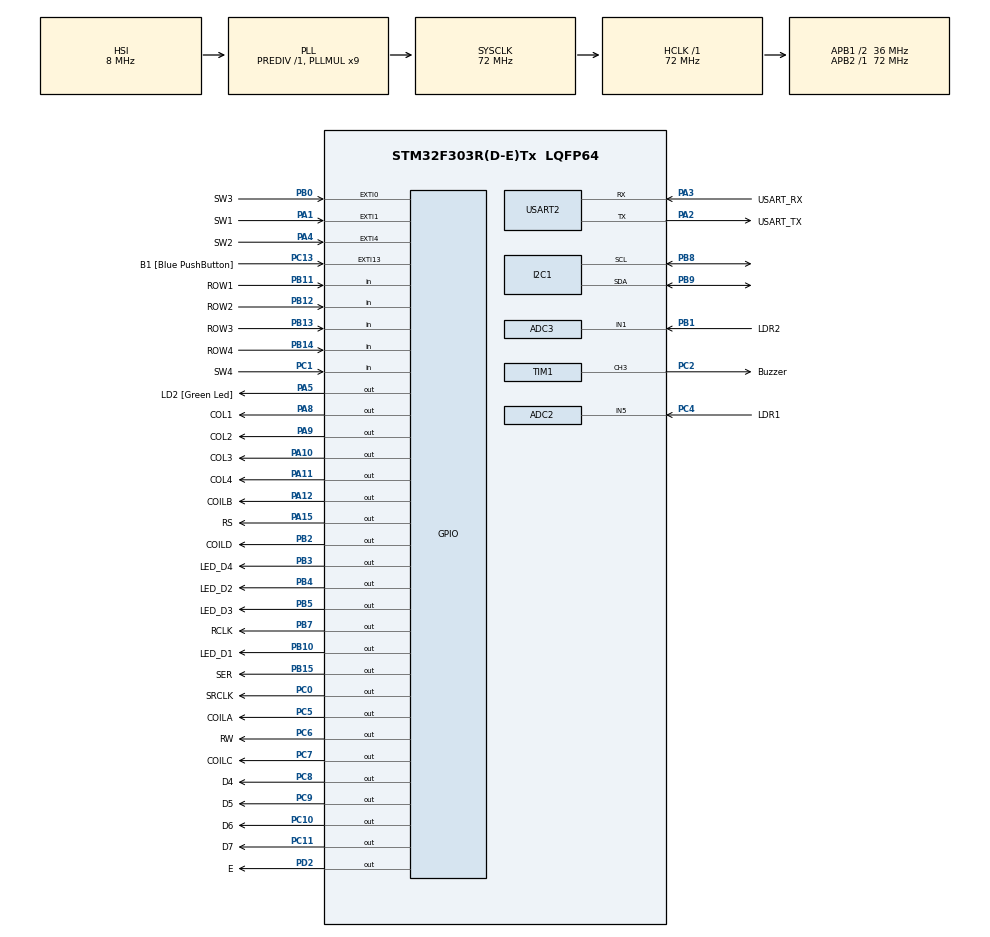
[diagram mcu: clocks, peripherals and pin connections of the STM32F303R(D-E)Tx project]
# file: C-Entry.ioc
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ADC2.Channel-0\#ChannelRegularConversion=ADC_CHANNEL_5
ADC2.NbrOfConversionFlag=1
ADC2.Offset-0\#ChannelRegularConversion=0
ADC2.OffsetNumber-0\#ChannelRegularConversion=ADC_OFFSET_NONE
ADC2.Rank-0\#ChannelRegularConversion=1
ADC2.SamplingTime-0\#ChannelRegularConversion=ADC_SAMPLETIME_1CYCLE_5
ADC2.SamplingTimeOPAMP-0\#ChannelRegularConversion=ADC_SAMPLETIME_61CYCLES_5
ADC3.Channel-0\#ChannelRegularConversion=ADC_CHANNEL_1
ADC3.NbrOfConversionFlag=1
ADC3.Offset-0\#ChannelRegularConversion=0
ADC3.OffsetNumber-0\#ChannelRegularConversion=ADC_OFFSET_NONE
ADC3.Rank-0\#ChannelRegularConversion=1
ADC3.SamplingTime-0\#ChannelRegularConversion=ADC_SAMPLETIME_1CYCLE_5
ADC3.SamplingTimeOPAMP-0\#ChannelRegularConversion=ADC_SAMPLETIME_61CYCLES_5
ADC3.master=1
I2C1.Timing=0x00201D2B
Mcu.Family=STM32F3
Mcu.Name=STM32F303R(D-E)Tx
Mcu.Package=LQFP64
NVIC.EXTI0_IRQn=true\:0\:0\:false\:false\:true\:true\:true\:true
NVIC.EXTI15_10_IRQn=true\:0\:0\:false\:false\:true\:true\:true\:true
NVIC.EXTI1_IRQn=true\:0\:0\:false\:false\:true\:true\:true\:true
NVIC.EXTI4_IRQn=true\:0\:0\:false\:false\:true\:true\:true\:true
NVIC.I2C1_ER_IRQn=true\:0\:0\:false\:false\:true\:true\:true\:true
NVIC.I2C1_EV_IRQn=true\:0\:0\:false\:false\:true\:true\:true\:true
NVIC.PriorityGroup=NVIC_PRIORITYGROUP_0
NVIC.TIM6_DAC_IRQn=true\:0\:0\:false\:false\:true\:true\:true\:true
PA1.GPIO_Label=SW1
PA1.Signal=GPXTI1
PA10.GPIO_Label=COL3
PA10.Signal=GPIO_Output
PA11.GPIO_Label=COL4
PA11.Signal=GPIO_Output
PA12.GPIO_Label=COILB
PA12.Signal=GPIO_Output
PA13.GPIO_Label=TMS
PA13.Mode=Serial_Wire
PA13.Signal=SYS_JTMS-SWDIO
PA14.GPIO_Label=TCK
PA14.Mode=Serial_Wire
PA14.Signal=SYS_JTCK-SWCLK
PA15.GPIO_Label=RS
PA15.Signal=GPIO_Output
PA2.GPIO_Label=USART_TX
PA2.GPIO_Mode=GPIO_MODE_AF_PP
PA2.GPIO_PuPd=GPIO_NOPULL
PA2.GPIO_Speed=GPIO_SPEED_FREQ_LOW
PA2.Mode=Asynchronous
PA2.Signal=USART2_TX
PA3.GPIO_Label=USART_RX
PA3.GPIO_Mode=GPIO_MODE_AF_PP
PA3.GPIO_PuPd=GPIO_NOPULL
PA3.GPIO_Speed=GPIO_SPEED_FREQ_LOW
PA3.Mode=Asynchronous
PA3.Signal=USART2_RX
PA4.GPIO_Label=SW2
PA4.Signal=GPXTI4
PA5.GPIO_Label=LD2 [Green Led]
PA5.GPIO_Mode=GPIO_MODE_OUTPUT_PP
PA5.GPIO_PuPd=GPIO_NOPULL
PA5.GPIO_Speed=GPIO_SPEED_FREQ_LOW
PA5.Signal=GPIO_Output
PA8.GPIO_Label=COL1
PA8.Signal=GPIO_Output
PA9.GPIO_Label=COL2
PA9.Signal=GPIO_Output
PB0.GPIO_Label=SW3
PB0.Signal=GPXTI0
PB1.GPIO_Label=LDR2
PB1.Mode=IN1-Single-Ended
PB1.Signal=ADC3_IN1
PB10.GPIO_Label=LED_D1
PB10.Signal=GPIO_Output
PB11.GPIO_Label=ROW1
PB11.GPIO_PuPd=GPIO_PULLDOWN
PB11.Signal=GPIO_Input
PB12.GPIO_Label=ROW2
PB12.GPIO_PuPd=GPIO_PULLDOWN
PB12.Signal=GPIO_Input
PB13.GPIO_Label=ROW3
PB13.GPIO_PuPd=GPIO_PULLDOWN
PB13.Signal=GPIO_Input
PB14.GPIO_Label=ROW4
PB14.GPIO_PuPd=GPIO_PULLDOWN
PB14.Signal=GPIO_Input
PB15.GPIO_Label=SER
PB15.Signal=GPIO_Output
PB2.GPIO_Label=COILD
PB2.Signal=GPIO_Output
PB3.GPIO_Label=LED_D4
PB3.Signal=GPIO_Output
PB4.GPIO_Label=LED_D2
PB4.Signal=GPIO_Output
PB5.GPIO_Label=LED_D3
PB5.Signal=GPIO_Output
PB7.GPIO_Label=RCLK
PB7.Signal=GPIO_Output
PB8.GPIO_Pu=GPIO_PULLUP
PB8.Mode=I2C
PB8.Signal=I2C1_SCL
PB9.GPIO_Pu=GPIO_PULLUP
PB9.Mode=I2C
PB9.Signal=I2C1_SDA
PC0.GPIO_Label=SRCLK
PC0.Signal=GPIO_Output
PC1.GPIO_Label=SW4
PC1.Signal=GPIO_Input
PC10.GPIO_Label=D6
PC10.Signal=GPIO_Output
PC11.GPIO_Label=D7
PC11.Signal=GPIO_Output
PC13.GPIO_Label=B1 [Blue PushButton]
PC13.GPIO_ModeDefaultEXTI=GPIO_MODE_IT_FALLING
PC13.Signal=GPXTI13
PC14-OSC32_IN.Mode=LSE-External-Oscillator
PC14-OSC32_IN.Signal=RCC_OSC32_IN
PC15-OSC32_OUT.Mode=LSE-External-Oscillator
PC15-OSC32_OUT.Signal=RCC_OSC32_OUT
PC2.GPIO_Label=Buzzer
PC2.Signal=S_TIM1_CH3
PC4.GPIO_Label=LDR1
PC4.Mode=IN5-Single-Ended
PC4.Signal=ADC2_IN5
PC5.GPIO_Label=COILA
PC5.Signal=GPIO_Output
PC6.GPIO_Label=RW
PC6.Signal=GPIO_Output
PC7.GPIO_Label=COILC
PC7.Signal=GPIO_Output
PC8.GPIO_Label=D4
PC8.Signal=GPIO_Output
PC9.GPIO_Label=D5
PC9.Signal=GPIO_Output
PD2.GPIO_Label=E
PD2.Signal=GPIO_Output
PF0-OSC_IN.Mode=HSE-External-Clock-Source
PF0-OSC_IN.Signal=RCC_OSC_IN
PF1-OSC_OUT.Signal=RCC_OSC_OUT
ProjectManager.HeapSize=0x200
ProjectManager.StackSize=0x400
ProjectManager.TargetToolchain=STM32CubeIDE
RCC.AHBFreq_Value=72000000
RCC.APB1CLKDivider=RCC_HCLK_DIV2
RCC.APB1Freq_Value=36000000
RCC.APB1TimFreq_Value=72000000
RCC.APB2Freq_Value=72000000
RCC.APB2TimFreq_Value=72000000
RCC.CortexFreq_Value=72000000
RCC.HCLKFreq_Value=72000000
RCC.HSE_VALUE=8000000
RCC.HSI_VALUE=8000000
RCC.PLLM=8
RCC.PLLMUL=RCC_PLL_MUL9
RCC.PLLN=336
RCC.PLLP=RCC_PLLP_DIV4
RCC.PLLQ=7
RCC.RCC_PLLsource_Clock_Source_FROM_HSE=RCC_HSE_PREDIV_DIV2
RCC.SYSCLKFreq_VALUE=72000000
RCC.SYSCLKSourceVirtual=RCC_SYSCLKSOURCE_PLLCLK
RCC.USBFreq_Value=72000000
SH.S_TIM1_CH3.0=TIM1_CH3,PWM Generation3 CH3
TIM1.Channel-PWM\ Generation3\ CH3=TIM_CHANNEL_3
TIM1.Prescaler=71
TIM6.Period=999
TIM6.Prescaler=71
USART2.VirtualMode-Asynchronous=VM_ASYNC
VP_TIM1_VS_ClockSourceINT.Mode=Internal
VP_TIM6_VS_ClockSourceINT.Mode=Enable_Timer
board=NUCLEO-F303RE

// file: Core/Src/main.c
/* USER CODE BEGIN Header */
/**
 ******************************************************************************
 * @file           : main.c
 * @brief          : Main program body
 ******************************************************************************
 * @attention
 *
 * Copyright (c) 2026 STMicroelectronics.
 * All rights reserved.
 *
 * This software is licensed under terms that can be found in the LICENSE file
 * in the root directory of this software component.
 * If no LICENSE file comes with this software, it is provided AS-IS.
 *
 ******************************************************************************
 */
/* USER CODE END Header */
#include "main.h"

/* USER CODE BEGIN Includes */

#include "keypad.h"
#include "lcd.h"
#include "motor.h"
#include "pn532.h"
#include <stdio.h>
#include <string.h>
#include <stdlib.h>
#include <stdbool.h>
#include "keypadPassword.h"

/* USER CODE END Includes */

/* USER CODE BEGIN PD */

#define LCD_CLEAR_DISPLAY 0b00000001
#define LCD_SHIFT_LEFT 0b00010000
#define MAX_CHAR_IN_LINE 16
#define LCD_FIRST_LINE 0x00
#define LCD_SECOND_LINE 0x40
#define SET_DDRAM_ADDRESS 0b10000000
#define RFID_UID 0x765F3207
#define NFC_UID 0x3E610B07
#define KEYPAD_TIMEOUT 600000 // 600 seconds, 10 minutes
// #define KEYPAD_TIMEOUT 6000 // 6 seconds for testing
#define MAX_DIGITS 16

/* USER CODE END PD */

ADC_HandleTypeDef hadc2;
ADC_HandleTypeDef hadc3;

I2C_HandleTypeDef hi2c1;

TIM_HandleTypeDef htim1;
TIM_HandleTypeDef htim6;

UART_HandleTypeDef huart2;

/* USER CODE BEGIN PV */

enum STATES {
	IDLE, EMERGENCY, OPEN, ALARM, EVENT, KEYPAD
};
// Sets the initial state of the gate
int STATE = IDLE;
int previousState = IDLE;

//0 = gate closed, 1 = Gate open
int isGateOpen = 0;

// counts how many milliseconds since start of program
volatile int milliseconds = 0;

// tracks time until keypad timeout
int keypadStartTimeout = 0;
// time that event state should last for
int eventTime = 0;
int eventStartTime = 0;
// for keypad input tracking
char timeRecorded[MAX_DIGITS] = { '\0' };
int timeDigitNum = 0;
// for scheduling
int scheduledMinutes = 0;
int keypadSchedulePrint = 0;
int forward = 1;
int currentLCDBit = 0;

// for event
int eventFirstStart = 0;
int lastPrinted = 0;

// for alarm
int alarmFirstStart = 0;
int alarmLedState = 0;
int alarmCounter = 0;

//emergency
// to clear LCD when emergency is called
int emergencyStateChange = 0;
int emergencyBlinkCounter = 0;
int emergencyBlinkState = 0;
int RFIDAccessGranted = 0;
int sw1TimeoutStart = 0;

// for open state
int openStateChange = 0;
int openTimerStart = 0;
int leaving = 0;
int ldr2WasTriggered = 0;
int ldr2TriggerStart = 0;

// for idle
int idleTimerStart = 0;
int idleStart = 1;

/* USER CODE END PV */

void SystemClock_Config(void);
static void MX_GPIO_Init(void);
static void MX_USART2_UART_Init(void);
static void MX_ADC2_Init(void);
static void MX_ADC3_Init(void);
static void MX_TIM1_Init(void);
static void MX_TIM6_Init(void);
static void MX_I2C1_Init(void);
/* USER CODE BEGIN PFP */

int scheduleChange(int scheduledMinutes, int forward, int value);
bool checkPassword ();
void shift_register_write(uint16_t data);
void clearPeripherals();
void Buzzer_Tone(uint32_t frequency_hz);

/* USER CODE END PFP */

int main(void)
{

  /* MCU Configuration--------------------------------------------------------*/

  /* Reset of all peripherals, Initializes the Flash interface and the Systick. */
  HAL_Init();

  /* Configure the system clock */
  SystemClock_Config();

  /* Initialize all configured peripherals */
  MX_GPIO_Init();
  MX_USART2_UART_Init();
  MX_ADC2_Init();
  MX_ADC3_Init();
  MX_TIM1_Init();
  MX_TIM6_Init();
  MX_I2C1_Init();
  /* USER CODE BEGIN 2 */
	// test code to check NFC module
//  for (uint8_t addr = 1; addr < 128; addr++) {
//      if (HAL_I2C_IsDeviceReady(&hi2c1, addr << 1, 2, 10) == HAL_OK) {
//          char msg[32];
//          sprintf(msg, "Found device at 0x%02X\r\n", addr);
//          UART_Print(msg);
//      }
//  }
// start lcd
	LCD_init();
	// start timer 6
	HAL_TIM_Base_Start_IT(&htim6);

	// start NFC configuration and check if it works
	HAL_Delay(100);
	PN532_SamConfig();

	// test code
//  HAL_Delay(100);
//  if (PN532_SamConfig()) {
//      UART_Print("PN532 SAM Config OK\r\n");
//  } else {
//      UART_Print("PN532 SAM Config FAILED\r\n");
//  }
	// to check if NFC reader works
	uint8_t uid[7];
	uint8_t uidLen;

	// callibrate ADC
	HAL_ADCEx_Calibration_Start(&hadc2, ADC_SINGLE_ENDED);
	HAL_ADCEx_Calibration_Start(&hadc3, ADC_SINGLE_ENDED);

  /* USER CODE END 2 */

  /* Infinite loop */
  /* USER CODE BEGIN WHILE */
	while (1) {

		// commented code is just for testing, it can make keypad unreliable
		// for testing, check current state
		char stateMsg[32];
		sprintf(stateMsg, "STATE: %d\r\n", STATE);
		UART_Print(stateMsg);

		if (STATE == IDLE) {
			if (idleStart == 1) {
				// clear all peripherals
				clearPeripherals();
				LCD_SendStr("IDLE");
				idleStart = 0;
				idleTimerStart = milliseconds;
				// if gate open, close it
				if (isGateOpen && leaving == 0) {
					for (int i = 0; i < 128; i++) {
						FullStep(5);
					}
					isGateOpen = 0;
				}

				if (isGateOpen && leaving == 1) {
					for(int i = 0; i < 128; i++) {
						FullStepReverse(5);
					}
					isGateOpen = 0;
				}
			}

			// get uid
			uidLen = PN532_ReadPassiveTarget(uid);

			// check if success
			if (uidLen > 0) {
				uint32_t scannedUID = (uid[0] << 24) | (uid[1] << 16)
						| (uid[2] << 8) | uid[3];

				// from IDLE to KEYPAD_STATE
				if (RFID_UID == scannedUID && uidLen > 0
						&& STATE != EMERGENCY) {
					// move to second line before checking password
					LCD_SendCmd(SET_DDRAM_ADDRESS | LCD_SECOND_LINE);
					if (checkPassword()) {
						// reset eventStartTime
						eventStartTime = 0;
						STATE = KEYPAD;
						keypadSchedulePrint = 1;
						keypadStartTimeout = milliseconds;
					} else {
						LCD_SendCmd(LCD_CLEAR_DISPLAY);
						LCD_SendStr("IDLE");
					}
				} else if (NFC_UID == scannedUID && uidLen > 0
							&& STATE != EMERGENCY) {
						// play correct buzzer tone
						int rest = 0;
						int tune1[] = { 622, rest, 932, 784, 784, 698, 622, rest,
								932, 784, 784, 698, 740, 784, rest, 932, 784, 784,
								698, 622, 523, 622, 698, 932, 523, 622, 698, 622 };
						int i = 0;
						int lastNoteTime = 0;
						int numNotes = sizeof(tune1) / sizeof(tune1[0]);
						while (i < numNotes) {
						    if (STATE == EMERGENCY) {
						        break;
						    }
						    if (milliseconds - lastNoteTime >= 25) {
						        Buzzer_Tone(tune1[i]);
						        lastNoteTime = milliseconds;
						        i++;
						    }
						}
						// change state to OPEN
						STATE = OPEN;
						openStateChange = 1;
						leaving = 0;
				} else {
					// play incorrect buzzer tone
					int tune1[] = {440, 550, 440, 550, 440, 550, 440, 550, 440,
								550, 400, 300, 255, 255, 300, 303};

					int i = 0;
					int lastNoteTime = 0;
					int numNotes = sizeof(tune1) / sizeof(tune1[0]);
					while (i < numNotes) {
						if (STATE == EMERGENCY) {
							break;
						}

						// only play and increment if time between is 25 milliseconds
						if (milliseconds - lastNoteTime >= 25) {
							Buzzer_Tone(tune1[i]);
							lastNoteTime = milliseconds;
							i++;
						}
					}
					Buzzer_Tone(0);
				}

			}

			// detect if someone is leaving the building
			HAL_ADC_Start(&hadc3);
			// wait until finished converting
			HAL_ADC_PollForConversion(&hadc3, 100);
			int val = HAL_ADC_GetValue(&hadc3);
			// debounce, 500 is the threshold
			if (val > 500) {
				idleTimerStart = milliseconds;
			} else {
				// check for 500 milliseconds
				// person needs to wait half a second for gate to start opening
				if (milliseconds - idleTimerStart > 50) {
					// exiting detected
					STATE = OPEN;
					openStateChange = 1;
					leaving = 1;
				}

			}

			// turns to event after scheduled time
			// if eventStartTime == 0 then its not initialised
			if (milliseconds >= eventStartTime && eventStartTime != 0
					&& STATE != EMERGENCY && STATE != OPEN) {
				STATE = EVENT;
				eventFirstStart = 1;
			}

		}

		if (STATE == OPEN) {
			if (openStateChange == 1) {
				clearPeripherals();
				shift_register_write(0xFFFF);

				if (leaving) {
					LCD_SendStr("GOODBYE!");
					// rotate 90 degrees
					for (int i = 0; i < 128; i++) {
						FullStep(5);
					}
				} else {
					LCD_SendStr("WELCOME!");
					stepper_rotate_steps(512, 5);
				}
				isGateOpen = 1;
				openTimerStart = milliseconds;
				openStateChange = 0;
			}

			// 10 second timeout if no one enters the gate
			if (milliseconds - openTimerStart > 1000 * 10) {
				STATE = IDLE;
				idleStart = 1;
			}

			if (leaving) {
				// LDR1 detected, close early
				HAL_ADC_Start(&hadc2); // start LDR1
				HAL_ADC_PollForConversion(&hadc2, 100);
				int val = HAL_ADC_GetValue(&hadc2);
				if (val < 500) {
					STATE = IDLE;
					idleStart = 1;
				}
			} else {
				// detect tailgating
				// start ADC, LDR 2
				HAL_ADC_Start(&hadc3);
				// wait until finished converting
				HAL_ADC_PollForConversion(&hadc3, 100);
				int val = HAL_ADC_GetValue(&hadc3);
				// set adc threshold to be 500
		        if (val < 500) {
		        	// user passes ldr2
		            if (!ldr2WasTriggered) {
		                ldr2WasTriggered = 1;
		                ldr2TriggerStart = milliseconds;
		            } else if (milliseconds - ldr2TriggerStart > 2000) {
		                // if still blocked after 2 seconds, trigger alarm
		                STATE = ALARM;
		                alarmFirstStart = 1;
		            }
		        } else {
		            if (ldr2WasTriggered) {
		                // close gate early, ldr 2 not triggered for 2 seconds
		                STATE = IDLE;
		                idleStart = 1;
		            }
		            ldr2WasTriggered = 0;
		        }

			}

		}

		if (STATE == ALARM) {
			if (alarmFirstStart == 1) {
				// print ALARM on the LCD
				LCD_SendCmd(LCD_CLEAR_DISPLAY);
				char alarmStr[20];
				snprintf(alarmStr, sizeof(alarmStr), "ALARM");
				LCD_SendStr(alarmStr);

				int timerStart = milliseconds;
				// loops until it sees that no one has triggered LDR for over 2 seconds
				while (1) {
					// start ADC, LDR 2
					HAL_ADC_Start(&hadc3);
					// wait until finished converting
					HAL_ADC_PollForConversion(&hadc3, 100);
					int val = HAL_ADC_GetValue(&hadc3);
					// set threshold to be 500
					if (val < 500) {
						// still triggered, reset timer,
						timerStart = milliseconds;
					} else {
						// check for 2 seconds if its still greater than 500
						// i.e check that person isnt near the gate
						// check every half a second
						if (milliseconds - timerStart > 2000) {
							break;
						}
					}
				}
				// then starts to close gate
				// motor rotates 90 degrees
				for (int i = 0;i < 128; i++) {
					FullStep(5);
				}
				isGateOpen = 0;
				alarmFirstStart = 0;
			}

			// to exit ALARM state
			if (HAL_GPIO_ReadPin(SW4_GPIO_Port, SW4_Pin) == 1) {
				LCD_SendCmd(LCD_CLEAR_DISPLAY);
				LCD_SendCmd(SET_DDRAM_ADDRESS | LCD_FIRST_LINE);
				char exitStr[17];
				snprintf(exitStr, sizeof(exitStr), "EXITING");
				LCD_SendStr(exitStr);
				HAL_TIM_PWM_Stop(&htim1, TIM_CHANNEL_3);
				int timeout = 1000 * 60; // 1 minute timeout
				// scans for RFID
				int timer = milliseconds;
				while (milliseconds - timer < timeout && STATE != EMERGENCY) {
					 // get uid
					 uidLen = PN532_ReadPassiveTarget(uid);

					 // check if success
					if (uidLen > 0) {
						uint32_t scannedUID = (uid[0] << 24) | (uid[1] << 16) | (uid[2] << 8) | uid[3];
						// from ALARM to IDLE
						if (RFID_UID == scannedUID && uidLen > 0) {
							if (checkPassword()) {
								STATE = IDLE;
								idleStart = 1;
								isGateOpen = 0;
								HAL_TIM_PWM_Stop(&htim1, TIM_CHANNEL_3);
								break;
							} else {
								// reprint
								LCD_SendCmd(LCD_CLEAR_DISPLAY);
								LCD_SendCmd(SET_DDRAM_ADDRESS | LCD_FIRST_LINE);
								char exitStr[17];
								snprintf(exitStr, sizeof(exitStr), "EXITING");
								LCD_SendStr(exitStr);
							}
						}
					}
				}
			}

			// flashing lights and buzzer
			// flash shift registers
			// D1 - D4
			if (STATE == ALARM && milliseconds - alarmCounter > 500) {
			    alarmLedState = !alarmLedState;
			    if (alarmLedState) {
			        shift_register_write(0xFFFF);
		            Buzzer_Tone(650);
			    } else {
			        shift_register_write(0x0000);
		            Buzzer_Tone(1200);
			    }

				// D1 - D4
		    	HAL_GPIO_WritePin(LED_D1_GPIO_Port, LED_D1_Pin, alarmLedState);
		    	HAL_GPIO_WritePin(LED_D2_GPIO_Port, LED_D2_Pin, alarmLedState);
		    	HAL_GPIO_WritePin(LED_D3_GPIO_Port, LED_D3_Pin, alarmLedState);
		    	HAL_GPIO_WritePin(LED_D4_GPIO_Port, LED_D4_Pin, alarmLedState);
			    alarmCounter = milliseconds;
			}

		}

		if (STATE == EMERGENCY) {
			// check rfid access first
			if (emergencyStateChange && !RFIDAccessGranted) {
				if (milliseconds - sw1TimeoutStart > 1000 * 60) {
					STATE = previousState;
				}
				clearPeripherals();
				LCD_SendStr("SCAN RFID");
				// get uid
				uidLen = PN532_ReadPassiveTarget(uid);

				// check if success
				if (uidLen > 0) {
					uint32_t scannedUID = (uid[0] << 24) | (uid[1] << 16)
							| (uid[2] << 8) | uid[3];

					if (RFID_UID == scannedUID && uidLen > 0) {
						if (checkPassword()) {
							RFIDAccessGranted = 1;
							clearPeripherals();
							LCD_SendStr("!! EMERGENCY!!");
							emergencyStateChange = 0;
							// if it changed to emergency in the middle of keypad input
							// clear temporary keypad buffer
							for (int i = 0; i < timeDigitNum; i++) {
								timeRecorded[i] = '\0';
							}
							timeDigitNum = 0;
						}
					}
				}
			} else if (emergencyStateChange && RFIDAccessGranted) {
				clearPeripherals();
				LCD_SendStr("!! EMERGENCY!!");
				emergencyStateChange = 0;
				// if it changed to emergency in the middle of keypad input
				// clear temporary keypad buffer
				for (int i = 0; i < timeDigitNum; i++) {
					timeRecorded[i] = '\0';
				}
				timeDigitNum = 0;
			}

			if (RFIDAccessGranted) {
				// open gate
				if (!isGateOpen) {
					stepper_rotate_steps(512, 3);
					isGateOpen = 1;
				}

				// beep and blinking shift register 0.25s
				if (milliseconds - emergencyBlinkCounter > 250) {
					emergencyBlinkState = !emergencyBlinkState;
					emergencyBlinkCounter = milliseconds;

					if (emergencyBlinkState) {
						shift_register_write(0xFFFF);
						Buzzer_Tone(1000); // Beep at 1000 Hz
					} else {
						shift_register_write(0x0000);
						Buzzer_Tone(0);      // Turn off PWM
					}
				}

				// get uid
				uidLen = PN532_ReadPassiveTarget(uid);

				// check if success
				if (uidLen > 0) {
					uint32_t scannedUID = (uid[0] << 24) | (uid[1] << 16)
							| (uid[2] << 8) | uid[3];
					// from EMERGENCY to IDLE
					if (RFID_UID == scannedUID && uidLen > 0) {
						// turn off beep and shift register
						Buzzer_Tone(0);
						shift_register_write(0x0000);

						if (checkPassword()) {
							// Password correct: Turn off alarm outputs
							HAL_TIM_PWM_Stop(&htim1, TIM_CHANNEL_3);

							// Case 1: Returning to IDLE or KEYPAD
							if (previousState == IDLE || previousState == KEYPAD) {
								if (isGateOpen) {
									for (int i = 0; i < 128; i++) {
										FullStep(5);
									}
									isGateOpen = 0;
								}
								STATE = IDLE;
								idleStart = 1;
							}
							// Case 2: Returning to EVENT
							else if (previousState == EVENT) {
								// Check if event has not expired yet
								if ((milliseconds - eventStartTime) < eventTime) {
									STATE = EVENT;
									eventFirstStart = 1; // Redraw LCD event screen
									// Gate stays open! (isGateOpen remains 1)
								} else {
									// Event expired while in emergency
									if (isGateOpen) {
										for (int i = 0; i < 128; i++) {
											FullStep(5);
										}
										isGateOpen = 0;
									}
									STATE = IDLE;
									idleStart = 1;
								}
							}
							// Fallback safety (e.g. if previous state was ALARM)
							else {
								STATE = IDLE;
								idleStart = 1;
							}
						} else {
							// Password failed/cancelled - re-flag emergency display update if needed
							emergencyStateChange = 1;
						}
					}
				}
			}
		}

		if (STATE == EVENT) {
			// timer on how long the event is going to go on for in first line
			// timer when event is starting on second line (if its now set 'now')
			int elapsedEventTime = milliseconds - eventStartTime;
			int remainingEventSec = (eventTime - elapsedEventTime) / 1000;

			if (remainingEventSec < 0) {
				remainingEventSec = 0;
			}

			int eventMins = remainingEventSec / 60;
			int eventSecs = remainingEventSec % 60;

			// how long the event is going to go on
			char line2Str[17];
			snprintf(line2Str, sizeof(line2Str), "Dur: %02dm %02ds", eventMins,
					eventSecs);

			if (eventFirstStart == 1) {
				LCD_SendCmd(LCD_CLEAR_DISPLAY);
				LCD_SendCmd(SET_DDRAM_ADDRESS | LCD_FIRST_LINE);
				char line1Str[17];
				snprintf(line1Str, sizeof(line1Str), "EVENT");
				LCD_SendStr(line1Str);
				LCD_SendCmd(SET_DDRAM_ADDRESS | LCD_SECOND_LINE);
				char rotatingStr[17];
				snprintf(rotatingStr, sizeof(rotatingStr), "ROTATING");
				LCD_SendStr(rotatingStr);

				if (!isGateOpen) {
					stepper_rotate_steps(512, 5);
					isGateOpen = 1;
				}
				eventFirstStart = 0;
			}

			if (milliseconds - lastPrinted >= 1000 && eventFirstStart == 0) {
				//update the LCD
				LCD_SendCmd(SET_DDRAM_ADDRESS | LCD_SECOND_LINE);
				LCD_SendStr("                ");
				LCD_SendCmd(SET_DDRAM_ADDRESS | LCD_SECOND_LINE);
				LCD_SendStr(line2Str);
				lastPrinted = milliseconds;
			}

			shift_register_write(0xAAAA);
			HAL_Delay(1);

			if (HAL_GPIO_ReadPin(SW4_GPIO_Port, SW4_Pin) == 1) {
				LCD_SendCmd(LCD_CLEAR_DISPLAY);
				LCD_SendCmd(SET_DDRAM_ADDRESS | LCD_FIRST_LINE);
				char exitStr[17];
				snprintf(exitStr, sizeof(exitStr), "EXITING");
				LCD_SendStr(exitStr);
				// if we want to end EVENT state early, press SW4 button
				// we do this since getting uid will make LCD print slower
				int timeout = 1000 * 60; // 1 minute timeout
				// scans for RFID
				int timer = milliseconds;
				while (milliseconds - timer < timeout && STATE != EMERGENCY) {
					// get uid
					uidLen = PN532_ReadPassiveTarget(uid);

					// check success
					if (uidLen > 0) {
						uint32_t scannedUID = (uid[0] << 24) | (uid[1] << 16) | (uid[2] << 8) | uid[3];
						if (RFID_UID == scannedUID && uidLen > 0) {
							if (checkPassword()) {
								STATE = IDLE;
								idleStart = 1;
								eventTime = 0;
								eventStartTime = 0;
								if (isGateOpen) {
									// close gates
									for (int i = 0; i < 128; i++) {
										// goes anticlockwise
										FullStep(5);
									}
									isGateOpen = 0;
								}
								// only break while loop if password correct
								// otherwise keep looping until timeout
								break;
							}
						}
					}
				}
			}
			// check event time, goes to IDLE state if event time is more than assigned time
			if ((milliseconds - eventStartTime) > eventTime && STATE != EMERGENCY) {
				STATE = IDLE;
				idleStart = 1;
				eventTime = 0;
				eventStartTime = 0;
			}

		}

		if (STATE == KEYPAD) {
			if (keypadSchedulePrint == 1) {
				LCD_SendCmd(SET_DDRAM_ADDRESS | LCD_SECOND_LINE);
				// clear only second line
				LCD_SendStr("                ");
				// time scheduled
				char scheduledTime[] = "S: ";
				LCD_SendCmd(SET_DDRAM_ADDRESS | LCD_SECOND_LINE);
				LCD_SendStr(scheduledTime);
				char hrs[20];
				snprintf(hrs, sizeof(hrs), "%d", scheduledMinutes / 60);
				LCD_SendStr(hrs);
				LCD_SendStr("hrs ");
				char mins[20];
				snprintf(mins, sizeof(mins), "%d", scheduledMinutes % 60);
				LCD_SendStr(mins);
				LCD_SendStr("min");

				keypadSchedulePrint = 0;
				// t for time period
				LCD_SendCmd(SET_DDRAM_ADDRESS | LCD_FIRST_LINE);
				LCD_SendStr("T: ");
				// 3 since T:
				currentLCDBit = 3 + timeDigitNum;
				LCD_SendCmd(SET_DDRAM_ADDRESS | currentLCDBit);
			}

			int c = 0;
			c = scan_keypad();
			if (c != 0) {
				if (c == '*') {
					// backspace
					if (timeDigitNum > 0) {
						LCD_SendCmd(LCD_SHIFT_LEFT);
						LCD_SendData(' ');
						LCD_SendCmd(LCD_SHIFT_LEFT);

						// reset last digit in array
						timeDigitNum--;
						timeRecorded[timeDigitNum] = '\0';
					}

				} else if (c == '#') {
					// enter
					if (timeDigitNum == 0) {
						STATE = IDLE;
						idleStart = 1;
					} else {
						eventFirstStart = 1;
						// time recorded is in minutes
						// e.g inputted 1 is 1 minute
						// minutes
						if (atoi(timeRecorded) == 0) {
							STATE = IDLE;
							idleStart = 1;
							for (int i = 0; i < timeDigitNum; i++) {
								timeRecorded[i] = '\0';
							}
							timeDigitNum = 0;
						} else {
							eventTime  = atoi(timeRecorded) * 1000 * 60;
							// seconds for testing
							// eventTime = atoi(timeRecorded) * 1000;
							// reset time recorded
							for (int i = 0; i < timeDigitNum; i++) {
								timeRecorded[i] = '\0';
							}
							timeDigitNum = 0;
							// clear lcd after enter
							LCD_SendCmd(LCD_CLEAR_DISPLAY);
							if (scheduledMinutes == 0) {
								// if theres no scheduled time we start instantly
								STATE = EVENT;
								eventFirstStart = 1;
								eventStartTime = milliseconds;
							} else {
								STATE = IDLE;
								idleStart = 1;
								eventStartTime = milliseconds + (scheduledMinutes * 1000 * 60);
							}
						}
					}
				} else if (c == 'A') {
					// move event start time forward/backward by one hour
					scheduledMinutes = scheduleChange(scheduledMinutes, forward, 60);
					keypadSchedulePrint = 1;
				} else if (c == 'B') {
					// move event start time forward/backward by 10 minutes
					scheduledMinutes = scheduleChange(scheduledMinutes, forward, 10);
					keypadSchedulePrint = 1;
				} else if (c == 'C') {
					// move event start time forward/backward by 1 minute
					scheduledMinutes = scheduleChange(scheduledMinutes, forward, 1);
					keypadSchedulePrint = 1;
				} else if (c == 'D') {
					// change to forward/backward
					forward = !forward;
				} else {
					// add number to end of array
					timeRecorded[timeDigitNum] = c;
					timeDigitNum++;

					// print the letter
					LCD_SendData(c);
				}
			}
			int isTimeout = milliseconds - keypadStartTimeout;
			// goes back to IDLE state if timeout
			if (isTimeout > KEYPAD_TIMEOUT) {
				STATE = IDLE;
				idleStart = 1;
			}

		}
    /* USER CODE END WHILE */

	}
}

void SystemClock_Config(void)
{
  RCC_OscInitTypeDef RCC_OscInitStruct = {0};
  RCC_ClkInitTypeDef RCC_ClkInitStruct = {0};
  RCC_PeriphCLKInitTypeDef PeriphClkInit = {0};

  /** Initializes the RCC Oscillators according to the specified parameters
  * in the RCC_OscInitTypeDef structure.
  */
  RCC_OscInitStruct.OscillatorType = RCC_OSCILLATORTYPE_HSI;
  RCC_OscInitStruct.HSIState = RCC_HSI_ON;
  RCC_OscInitStruct.HSICalibrationValue = RCC_HSICALIBRATION_DEFAULT;
  RCC_OscInitStruct.PLL.PLLState = RCC_PLL_ON;
  RCC_OscInitStruct.PLL.PLLSource = RCC_PLLSOURCE_HSI;
  RCC_OscInitStruct.PLL.PLLMUL = RCC_PLL_MUL9;
  RCC_OscInitStruct.PLL.PREDIV = RCC_PREDIV_DIV1;
  if (HAL_RCC_OscConfig(&RCC_OscInitStruct) != HAL_OK)
  {
    Error_Handler();
  }

  /** Initializes the CPU, AHB and APB buses clocks
  */
  RCC_ClkInitStruct.ClockType = RCC_CLOCKTYPE_HCLK|RCC_CLOCKTYPE_SYSCLK
                              |RCC_CLOCKTYPE_PCLK1|RCC_CLOCKTYPE_PCLK2;
  RCC_ClkInitStruct.SYSCLKSource = RCC_SYSCLKSOURCE_PLLCLK;
  RCC_ClkInitStruct.AHBCLKDivider = RCC_SYSCLK_DIV1;
  RCC_ClkInitStruct.APB1CLKDivider = RCC_HCLK_DIV2;
  RCC_ClkInitStruct.APB2CLKDivider = RCC_HCLK_DIV1;

  if (HAL_RCC_ClockConfig(&RCC_ClkInitStruct, FLASH_LATENCY_2) != HAL_OK)
  {
    Error_Handler();
  }
  PeriphClkInit.PeriphClockSelection = RCC_PERIPHCLK_USART2|RCC_PERIPHCLK_I2C1
                              |RCC_PERIPHCLK_TIM1|RCC_PERIPHCLK_ADC12
                              |RCC_PERIPHCLK_ADC34;
  PeriphClkInit.Usart2ClockSelection = RCC_USART2CLKSOURCE_PCLK1;
  PeriphClkInit.Adc12ClockSelection = RCC_ADC12PLLCLK_DIV1;
  PeriphClkInit.Adc34ClockSelection = RCC_ADC34PLLCLK_DIV1;
  PeriphClkInit.I2c1ClockSelection = RCC_I2C1CLKSOURCE_HSI;
  PeriphClkInit.Tim1ClockSelection = RCC_TIM1CLK_HCLK;
  if (HAL_RCCEx_PeriphCLKConfig(&PeriphClkInit) != HAL_OK)
  {
    Error_Handler();
  }
}

static void MX_ADC2_Init(void)
{

  ADC_ChannelConfTypeDef sConfig = {0};

  /** Common config
  */
  hadc2.Instance = ADC2;
  hadc2.Init.ClockPrescaler = ADC_CLOCK_ASYNC_DIV1;
  hadc2.Init.Resolution = ADC_RESOLUTION_12B;
  hadc2.Init.ScanConvMode = ADC_SCAN_DISABLE;
  hadc2.Init.ContinuousConvMode = DISABLE;
  hadc2.Init.DiscontinuousConvMode = DISABLE;
  hadc2.Init.ExternalTrigConvEdge = ADC_EXTERNALTRIGCONVEDGE_NONE;
  hadc2.Init.ExternalTrigConv = ADC_SOFTWARE_START;
  hadc2.Init.DataAlign = ADC_DATAALIGN_RIGHT;
  hadc2.Init.NbrOfConversion = 1;
  hadc2.Init.DMAContinuousRequests = DISABLE;
  hadc2.Init.EOCSelection = ADC_EOC_SINGLE_CONV;
  hadc2.Init.LowPowerAutoWait = DISABLE;
  hadc2.Init.Overrun = ADC_OVR_DATA_OVERWRITTEN;
  if (HAL_ADC_Init(&hadc2) != HAL_OK)
  {
    Error_Handler();
  }

  /** Configure Regular Channel
  */
  sConfig.Channel = ADC_CHANNEL_5;
  sConfig.Rank = ADC_REGULAR_RANK_1;
  sConfig.SingleDiff = ADC_SINGLE_ENDED;
  sConfig.SamplingTime = ADC_SAMPLETIME_1CYCLE_5;
  sConfig.OffsetNumber = ADC_OFFSET_NONE;
  sConfig.Offset = 0;
  if (HAL_ADC_ConfigChannel(&hadc2, &sConfig) != HAL_OK)
  {
    Error_Handler();
  }

}

static void MX_ADC3_Init(void)
{

  ADC_MultiModeTypeDef multimode = {0};
  ADC_ChannelConfTypeDef sConfig = {0};

  /** Common config
  */
  hadc3.Instance = ADC3;
  hadc3.Init.ClockPrescaler = ADC_CLOCK_ASYNC_DIV1;
  hadc3.Init.Resolution = ADC_RESOLUTION_12B;
  hadc3.Init.ScanConvMode = ADC_SCAN_DISABLE;
  hadc3.Init.ContinuousConvMode = DISABLE;
  hadc3.Init.DiscontinuousConvMode = DISABLE;
  hadc3.Init.ExternalTrigConvEdge = ADC_EXTERNALTRIGCONVEDGE_NONE;
  hadc3.Init.ExternalTrigConv = ADC_SOFTWARE_START;
  hadc3.Init.DataAlign = ADC_DATAALIGN_RIGHT;
  hadc3.Init.NbrOfConversion = 1;
  hadc3.Init.DMAContinuousRequests = DISABLE;
  hadc3.Init.EOCSelection = ADC_EOC_SINGLE_CONV;
  hadc3.Init.LowPowerAutoWait = DISABLE;
  hadc3.Init.Overrun = ADC_OVR_DATA_OVERWRITTEN;
  if (HAL_ADC_Init(&hadc3) != HAL_OK)
  {
    Error_Handler();
  }

  /** Configure the ADC multi-mode
  */
  multimode.Mode = ADC_MODE_INDEPENDENT;
  if (HAL_ADCEx_MultiModeConfigChannel(&hadc3, &multimode) != HAL_OK)
  {
    Error_Handler();
  }

  /** Configure Regular Channel
  */
  sConfig.Channel = ADC_CHANNEL_1;
  sConfig.Rank = ADC_REGULAR_RANK_1;
  sConfig.SingleDiff = ADC_SINGLE_ENDED;
  sConfig.SamplingTime = ADC_SAMPLETIME_1CYCLE_5;
  sConfig.OffsetNumber = ADC_OFFSET_NONE;
  sConfig.Offset = 0;
  if (HAL_ADC_ConfigChannel(&hadc3, &sConfig) != HAL_OK)
  {
    Error_Handler();
  }

}

static void MX_I2C1_Init(void)
{

  hi2c1.Instance = I2C1;
  hi2c1.Init.Timing = 0x00201D2B;
  hi2c1.Init.OwnAddress1 = 0;
  hi2c1.Init.AddressingMode = I2C_ADDRESSINGMODE_7BIT;
  hi2c1.Init.DualAddressMode = I2C_DUALADDRESS_DISABLE;
  hi2c1.Init.OwnAddress2 = 0;
  hi2c1.Init.OwnAddress2Masks = I2C_OA2_NOMASK;
  hi2c1.Init.GeneralCallMode = I2C_GENERALCALL_DISABLE;
  hi2c1.Init.NoStretchMode = I2C_NOSTRETCH_DISABLE;
  if (HAL_I2C_Init(&hi2c1) != HAL_OK)
  {
    Error_Handler();
  }

  /** Configure Analogue filter
  */
  if (HAL_I2CEx_ConfigAnalogFilter(&hi2c1, I2C_ANALOGFILTER_ENABLE) != HAL_OK)
  {
    Error_Handler();
  }

  /** Configure Digital filter
  */
  if (HAL_I2CEx_ConfigDigitalFilter(&hi2c1, 0) != HAL_OK)
  {
    Error_Handler();
  }

}

static void MX_TIM1_Init(void)
{

  TIM_ClockConfigTypeDef sClockSourceConfig = {0};
  TIM_MasterConfigTypeDef sMasterConfig = {0};
  TIM_OC_InitTypeDef sConfigOC = {0};
  TIM_BreakDeadTimeConfigTypeDef sBreakDeadTimeConfig = {0};

  htim1.Instance = TIM1;
  htim1.Init.Prescaler = 71;
  htim1.Init.CounterMode = TIM_COUNTERMODE_UP;
  htim1.Init.Period = 65535;
  htim1.Init.ClockDivision = TIM_CLOCKDIVISION_DIV1;
  htim1.Init.RepetitionCounter = 0;
  htim1.Init.AutoReloadPreload = TIM_AUTORELOAD_PRELOAD_DISABLE;
  if (HAL_TIM_Base_Init(&htim1) != HAL_OK)
  {
    Error_Handler();
  }
  sClockSourceConfig.ClockSource = TIM_CLOCKSOURCE_INTERNAL;
  if (HAL_TIM_ConfigClockSource(&htim1, &sClockSourceConfig) != HAL_OK)
  {
    Error_Handler();
  }
  if (HAL_TIM_PWM_Init(&htim1) != HAL_OK)
  {
    Error_Handler();
  }
  sMasterConfig.MasterOutputTrigger = TIM_TRGO_RESET;
  sMasterConfig.MasterOutputTrigger2 = TIM_TRGO2_RESET;
  sMasterConfig.MasterSlaveMode = TIM_MASTERSLAVEMODE_DISABLE;
  if (HAL_TIMEx_MasterConfigSynchronization(&htim1, &sMasterConfig) != HAL_OK)
  {
    Error_Handler();
  }
  sConfigOC.OCMode = TIM_OCMODE_PWM1;
  sConfigOC.Pulse = 0;
  sConfigOC.OCPolarity = TIM_OCPOLARITY_HIGH;
  sConfigOC.OCNPolarity = TIM_OCNPOLARITY_HIGH;
  sConfigOC.OCFastMode = TIM_OCFAST_DISABLE;
  sConfigOC.OCIdleState = TIM_OCIDLESTATE_RESET;
  sConfigOC.OCNIdleState = TIM_OCNIDLESTATE_RESET;
  if (HAL_TIM_PWM_ConfigChannel(&htim1, &sConfigOC, TIM_CHANNEL_3) != HAL_OK)
  {
    Error_Handler();
  }
  sBreakDeadTimeConfig.OffStateRunMode = TIM_OSSR_DISABLE;
  sBreakDeadTimeConfig.OffStateIDLEMode = TIM_OSSI_DISABLE;
  sBreakDeadTimeConfig.LockLevel = TIM_LOCKLEVEL_OFF;
  sBreakDeadTimeConfig.DeadTime = 0;
  sBreakDeadTimeConfig.BreakState = TIM_BREAK_DISABLE;
  sBreakDeadTimeConfig.BreakPolarity = TIM_BREAKPOLARITY_HIGH;
  sBreakDeadTimeConfig.BreakFilter = 0;
  sBreakDeadTimeConfig.Break2State = TIM_BREAK2_DISABLE;
  sBreakDeadTimeConfig.Break2Polarity = TIM_BREAK2POLARITY_HIGH;
  sBreakDeadTimeConfig.Break2Filter = 0;
  sBreakDeadTimeConfig.AutomaticOutput = TIM_AUTOMATICOUTPUT_DISABLE;
  if (HAL_TIMEx_ConfigBreakDeadTime(&htim1, &sBreakDeadTimeConfig) != HAL_OK)
  {
    Error_Handler();
  }
  HAL_TIM_MspPostInit(&htim1);

}

static void MX_TIM6_Init(void)
{

  TIM_MasterConfigTypeDef sMasterConfig = {0};

  htim6.Instance = TIM6;
  htim6.Init.Prescaler = 71;
  htim6.Init.CounterMode = TIM_COUNTERMODE_UP;
  htim6.Init.Period = 999;
  htim6.Init.AutoReloadPreload = TIM_AUTORELOAD_PRELOAD_DISABLE;
  if (HAL_TIM_Base_Init(&htim6) != HAL_OK)
  {
    Error_Handler();
  }
  sMasterConfig.MasterOutputTrigger = TIM_TRGO_RESET;
  sMasterConfig.MasterSlaveMode = TIM_MASTERSLAVEMODE_DISABLE;
  if (HAL_TIMEx_MasterConfigSynchronization(&htim6, &sMasterConfig) != HAL_OK)
  {
    Error_Handler();
  }

}

static void MX_USART2_UART_Init(void)
{

  huart2.Instance = USART2;
  huart2.Init.BaudRate = 38400;
  huart2.Init.WordLength = UART_WORDLENGTH_8B;
  huart2.Init.StopBits = UART_STOPBITS_1;
  huart2.Init.Parity = UART_PARITY_NONE;
  huart2.Init.Mode = UART_MODE_TX_RX;
  huart2.Init.HwFlowCtl = UART_HWCONTROL_NONE;
  huart2.Init.OverSampling = UART_OVERSAMPLING_16;
  huart2.Init.OneBitSampling = UART_ONE_BIT_SAMPLE_DISABLE;
  huart2.AdvancedInit.AdvFeatureInit = UART_ADVFEATURE_NO_INIT;
  if (HAL_UART_Init(&huart2) != HAL_OK)
  {
    Error_Handler();
  }

}

static void MX_GPIO_Init(void)
{
  GPIO_InitTypeDef GPIO_InitStruct = {0};

  /* GPIO Ports Clock Enable */
  __HAL_RCC_GPIOC_CLK_ENABLE();
  __HAL_RCC_GPIOF_CLK_ENABLE();
  __HAL_RCC_GPIOA_CLK_ENABLE();
  __HAL_RCC_GPIOB_CLK_ENABLE();
  __HAL_RCC_GPIOD_CLK_ENABLE();

  /*Configure GPIO pin Output Level */
  HAL_GPIO_WritePin(GPIOC, SRCLK_Pin|COILA_Pin|RW_Pin|COILC_Pin
                          |D4_Pin|D5_Pin|D6_Pin|D7_Pin, GPIO_PIN_RESET);

  /*Configure GPIO pin Output Level */
  HAL_GPIO_WritePin(GPIOA, LD2_Pin|COL1_Pin|COL2_Pin|COL3_Pin
                          |COL4_Pin|COILB_Pin|RS_Pin, GPIO_PIN_RESET);

  /*Configure GPIO pin Output Level */
  HAL_GPIO_WritePin(GPIOB, COILD_Pin|LED_D1_Pin|SER_Pin|LED_D4_Pin
                          |LED_D2_Pin|LED_D3_Pin|RCLK_Pin, GPIO_PIN_RESET);

  /*Configure GPIO pin Output Level */
  HAL_GPIO_WritePin(E_GPIO_Port, E_Pin, GPIO_PIN_RESET);

  /*Configure GPIO pin : B1_Pin */
  GPIO_InitStruct.Pin = B1_Pin;
  GPIO_InitStruct.Mode = GPIO_MODE_IT_FALLING;
  GPIO_InitStruct.Pull = GPIO_NOPULL;
  HAL_GPIO_Init(B1_GPIO_Port, &GPIO_InitStruct);

  /*Configure GPIO pins : SRCLK_Pin COILA_Pin RW_Pin COILC_Pin
                           D4_Pin D5_Pin D6_Pin D7_Pin */
  GPIO_InitStruct.Pin = SRCLK_Pin|COILA_Pin|RW_Pin|COILC_Pin
                          |D4_Pin|D5_Pin|D6_Pin|D7_Pin;
  GPIO_InitStruct.Mode = GPIO_MODE_OUTPUT_PP;
  GPIO_InitStruct.Pull = GPIO_NOPULL;
  GPIO_InitStruct.Speed = GPIO_SPEED_FREQ_LOW;
  HAL_GPIO_Init(GPIOC, &GPIO_InitStruct);

  /*Configure GPIO pin : SW4_Pin */
  GPIO_InitStruct.Pin = SW4_Pin;
  GPIO_InitStruct.Mode = GPIO_MODE_INPUT;
  GPIO_InitStruct.Pull = GPIO_NOPULL;
  HAL_GPIO_Init(SW4_GPIO_Port, &GPIO_InitStruct);

  /*Configure GPIO pins : SW1_Pin SW2_Pin */
  GPIO_InitStruct.Pin = SW1_Pin|SW2_Pin;
  GPIO_InitStruct.Mode = GPIO_MODE_IT_RISING;
  GPIO_InitStruct.Pull = GPIO_NOPULL;
  HAL_GPIO_Init(GPIOA, &GPIO_InitStruct);

  /*Configure GPIO pins : LD2_Pin COL1_Pin COL2_Pin COL3_Pin
                           COL4_Pin COILB_Pin RS_Pin */
  GPIO_InitStruct.Pin = LD2_Pin|COL1_Pin|COL2_Pin|COL3_Pin
                          |COL4_Pin|COILB_Pin|RS_Pin;
  GPIO_InitStruct.Mode = GPIO_MODE_OUTPUT_PP;
  GPIO_InitStruct.Pull = GPIO_NOPULL;
  GPIO_InitStruct.Speed = GPIO_SPEED_FREQ_LOW;
  HAL_GPIO_Init(GPIOA, &GPIO_InitStruct);

  /*Configure GPIO pin : SW3_Pin */
  GPIO_InitStruct.Pin = SW3_Pin;
  GPIO_InitStruct.Mode = GPIO_MODE_IT_RISING;
  GPIO_InitStruct.Pull = GPIO_NOPULL;
  HAL_GPIO_Init(SW3_GPIO_Port, &GPIO_InitStruct);

  /*Configure GPIO pins : COILD_Pin LED_D1_Pin SER_Pin LED_D4_Pin
                           LED_D2_Pin LED_D3_Pin RCLK_Pin */
  GPIO_InitStruct.Pin = COILD_Pin|LED_D1_Pin|SER_Pin|LED_D4_Pin
                          |LED_D2_Pin|LED_D3_Pin|RCLK_Pin;
  GPIO_InitStruct.Mode = GPIO_MODE_OUTPUT_PP;
  GPIO_InitStruct.Pull = GPIO_NOPULL;
  GPIO_InitStruct.Speed = GPIO_SPEED_FREQ_LOW;
  HAL_GPIO_Init(GPIOB, &GPIO_InitStruct);

  /*Configure GPIO pins : ROW1_Pin ROW2_Pin ROW3_Pin ROW4_Pin */
  GPIO_InitStruct.Pin = ROW1_Pin|ROW2_Pin|ROW3_Pin|ROW4_Pin;
  GPIO_InitStruct.Mode = GPIO_MODE_INPUT;
  GPIO_InitStruct.Pull = GPIO_PULLDOWN;
  HAL_GPIO_Init(GPIOB, &GPIO_InitStruct);

  /*Configure GPIO pin : E_Pin */
  GPIO_InitStruct.Pin = E_Pin;
  GPIO_InitStruct.Mode = GPIO_MODE_OUTPUT_PP;
  GPIO_InitStruct.Pull = GPIO_NOPULL;
  GPIO_InitStruct.Speed = GPIO_SPEED_FREQ_LOW;
  HAL_GPIO_Init(E_GPIO_Port, &GPIO_InitStruct);

  /* EXTI interrupt init*/
  HAL_NVIC_SetPriority(EXTI0_IRQn, 0, 0);
  HAL_NVIC_EnableIRQ(EXTI0_IRQn);

  HAL_NVIC_SetPriority(EXTI1_IRQn, 0, 0);
  HAL_NVIC_EnableIRQ(EXTI1_IRQn);

  HAL_NVIC_SetPriority(EXTI4_IRQn, 0, 0);
  HAL_NVIC_EnableIRQ(EXTI4_IRQn);

  HAL_NVIC_SetPriority(EXTI15_10_IRQn, 0, 0);
  HAL_NVIC_EnableIRQ(EXTI15_10_IRQn);

  /* USER CODE BEGIN MX_GPIO_Init_2 */

	/*Configure GPIO pins : PB6 PB9 (I2C1_SCL, I2C1_SDA) */
	GPIO_InitStruct.Pin = GPIO_PIN_6 | GPIO_PIN_9;
	GPIO_InitStruct.Mode = GPIO_MODE_AF_OD;
	GPIO_InitStruct.Pull = GPIO_NOPULL;
	GPIO_InitStruct.Speed = GPIO_SPEED_FREQ_HIGH;
	GPIO_InitStruct.Alternate = GPIO_AF4_I2C1;
	HAL_GPIO_Init(GPIOB, &GPIO_InitStruct);

  /* USER CODE END MX_GPIO_Init_2 */
}

/* USER CODE BEGIN 4 */
void HAL_GPIO_EXTI_Callback(uint16_t GPIO_Pin) {
	if (GPIO_Pin == SW1_Pin) {
		if (STATE != EMERGENCY) {
			previousState = STATE;
		}
		emergencyStateChange = 1;
		STATE = EMERGENCY;
		RFIDAccessGranted = 0;
		sw1TimeoutStart = milliseconds;
	}
}

void HAL_TIM_PeriodElapsedCallback(TIM_HandleTypeDef *htim) {
	if (htim == &htim6) {
		milliseconds++;
	}
}

// for scheduling
int scheduleChange(int scheduledMinutes, int forward, int value) {
	if (forward == 1) {
		scheduledMinutes = scheduledMinutes + value;
	} else {
		if (scheduledMinutes >= 0) {
			int temp = scheduledMinutes - value;
			if (temp >= 0) {
				scheduledMinutes = scheduledMinutes - value;
			}
		}
	}
	return scheduledMinutes;
}

/**
 * @brief Sends a 16-bit pattern to the shifted LED registers.
 * @param data: 16-bit integer where each bit represents an LED (1 = ON, 0 = OFF)
 */
void shift_register_write(uint16_t data) {
	// Repeat for all 16 bits (MSB first)
	for (int i = 15; i >= 0; i--) {
		// Step 2: Read bit i and set SER pin
		if ((data >> i) & 1) {
			HAL_GPIO_WritePin(SER_GPIO_Port, SER_Pin, 1);   // SER HIGH
		} else {
			HAL_GPIO_WritePin(SER_GPIO_Port, SER_Pin, 0); // SER LOW
		}

		// Step 3: Pulse SRCLK (Serial Clock) HIGH then LOW
		HAL_GPIO_WritePin(SRCLK_GPIO_Port, SRCLK_Pin, 1);
		HAL_GPIO_WritePin(SRCLK_GPIO_Port, SRCLK_Pin, 0);
	}

	// Step 5: Pulse RCLK (Latch Clock) HIGH then LOW to output all bits
	HAL_GPIO_WritePin(RCLK_GPIO_Port, RCLK_Pin, 1);
	HAL_GPIO_WritePin(RCLK_GPIO_Port, RCLK_Pin, 0);
}

bool checkPassword() {
	// setting own password
	char password[] = "admin";
	char inputtedPassword[20];
	int inputtedPasswordCount = 0;
	int doneTyping = 0;

	emergencyStateChange = 0;
	LCD_SendCmd(SET_DDRAM_ADDRESS | LCD_SECOND_LINE);

	// timeout is 10 mins
	int timeout = 1000 * 60;
	int timerStart = milliseconds;
	while (((milliseconds - timerStart) < timeout) && (doneTyping == 0)) {
		if (emergencyStateChange == 1) {
			LCD_SendCmd(LCD_CLEAR_DISPLAY);
			return false;
		}
		int c = 0;
		c = scanKeypadPassword();
		if (c != 0) {
			// backspace
			if (c == '*') {
				//backspace on LCD
				LCD_SendCmd(LCD_SHIFT_LEFT);
				HAL_Delay(1);
				LCD_SendData(' ');
				HAL_Delay(1);
				LCD_SendCmd(LCD_SHIFT_LEFT);
				inputtedPassword[inputtedPasswordCount] = '\0';
				inputtedPasswordCount--;
			} else if (c == '#') {
				inputtedPassword[inputtedPasswordCount] = '\0';
				doneTyping = 1;
				LCD_SendCmd(LCD_CLEAR_DISPLAY);
			} else {
				LCD_SendData(c);
				inputtedPassword[inputtedPasswordCount++] = c;
			}
		}
	}

	// clear it if timer ends
	LCD_SendCmd(LCD_CLEAR_DISPLAY);
	if (strcmp(password, inputtedPassword) == 0) {
		return true;
	}
	return false;
}

void clearPeripherals() {
	alarmLedState = 0;
	LCD_SendCmd(LCD_CLEAR_DISPLAY);
	shift_register_write(0x0000);
	HAL_TIM_PWM_Stop(&htim1, TIM_CHANNEL_3);
	HAL_GPIO_WritePin(LED_D1_GPIO_Port, LED_D1_Pin, alarmLedState);
	HAL_GPIO_WritePin(LED_D2_GPIO_Port, LED_D2_Pin, alarmLedState);
	HAL_GPIO_WritePin(LED_D3_GPIO_Port, LED_D3_Pin, alarmLedState);
	HAL_GPIO_WritePin(LED_D4_GPIO_Port, LED_D4_Pin, alarmLedState);
}

void Buzzer_Tone(uint32_t frequency_hz) {
    if (frequency_hz == 0) {
        HAL_TIM_PWM_Stop(&htim1, TIM_CHANNEL_3);
        return;
    }

    // With Prescaler = 71, Timer Clock = 1 MHz (1,000,000 Hz)
    uint32_t arr = (1000000 / frequency_hz) - 1;

    TIM1->ARR = arr;
    TIM1->CCR3 = (arr + 1) / 2; // 50% Duty Cycle

    HAL_TIM_PWM_Start(&htim1, TIM_CHANNEL_3);
}
/* USER CODE END 4 */

void Error_Handler(void)
{
	__disable_irq();
	while (1) {
	}
}
